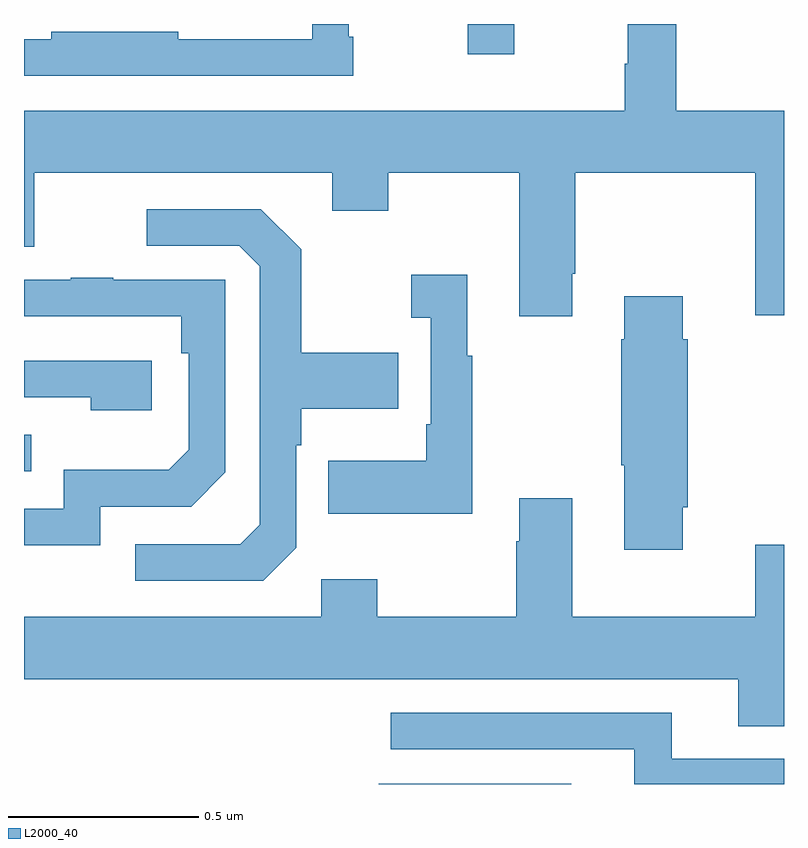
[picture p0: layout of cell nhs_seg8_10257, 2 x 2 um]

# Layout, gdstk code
import gdstk
lib = gdstk.Library(unit=1e-6, precision=1e-09)
def R(c, l, rs):  # rectangles x0, y0, x1, y1
    for r in rs: c.add(gdstk.rectangle(r[:2], r[2:], *l))
def P(c, l, *ps):  # polygons
    for p in ps: c.add(gdstk.Polygon(p, *l))
L2000_40 = (2000, 40)

nhs_seg8_10257 = lib.new_cell('nhs_seg8_10257')
R(nhs_seg8_10257, L2000_40, [(247.934,1106.9,248.44,1106.901), (247,1107.723,247.019,1107.819), (248.168,1108.821,248.29,1108.9)])
P(nhs_seg8_10257, L2000_40, [(248.443,1108.243),(248.451,1108.243),(248.451,1108.508),(248.924,1108.508),(248.924,1108.134),(249,1108.134),(249,1108.672),(248.717,1108.672),(248.717,1108.9),(248.589,1108.9),(248.589,1108.796),(248.581,1108.796),(248.581,1108.672),(247,1108.672),(247,1108.314),(247.027,1108.314),(247.027,1108.508),(247.811,1108.508),(247.811,1108.409),(247.959,1108.409),(247.959,1108.508),(248.303,1108.508),(248.303,1108.131),(248.443,1108.131)],
  [(247.867,1108.867),(247.854,1108.867),(247.854,1108.9),(247.758,1108.9),(247.758,1108.86),(247.406,1108.86),(247.406,1108.88),(247.072,1108.88),(247.072,1108.86),(247,1108.86),(247,1108.764),(247.867,1108.764)],
  [(247.716,1107.522),(247.716,1107.791),(247.729,1107.791),(247.729,1107.887),(247.985,1107.887),(247.985,1108.035),(247.729,1108.035),(247.729,1108.307),(247.623,1108.413),(247.323,1108.413),(247.323,1108.317),(247.566,1108.317),(247.62,1108.263),(247.62,1107.582),(247.569,1107.531),(247.293,1107.531),(247.293,1107.435),(247.629,1107.435)],
  [(248.179,1108.027),(248.167,1108.027),(248.167,1108.24),(248.019,1108.24),(248.019,1108.127),(248.07,1108.127),(248.07,1107.847),(248.058,1107.847),(248.058,1107.751),(247.801,1107.751),(247.801,1107.611),(248.179,1107.611)],
  [(247.2,1107.63),(247.44,1107.63),(247.53,1107.72),(247.53,1108.227),(247.235,1108.227),(247.235,1108.232),(247.123,1108.232),(247.123,1108.227),(247,1108.227),(247,1108.131),(247.414,1108.131),(247.414,1108.034),(247.434,1108.034),(247.434,1107.78),(247.381,1107.727),(247.104,1107.727),(247.104,1107.624),(247,1107.624),(247,1107.528),(247.2,1107.528)],
  [(248.734,1107.628),(248.747,1107.628),(248.747,1108.07),(248.734,1108.07),(248.734,1108.183),(248.579,1108.183),(248.579,1108.07),(248.572,1108.07),(248.572,1107.739),(248.579,1107.739),(248.579,1107.516),(248.734,1107.516)],
  [(247.336,1108.014),(247,1108.014),(247,1107.918),(247.175,1107.918),(247.175,1107.884),(247.336,1107.884)],
  [(249,1107.529),(248.924,1107.529),(248.924,1107.34),(248.443,1107.34),(248.443,1107.652),(248.303,1107.652),(248.303,1107.539),(248.296,1107.539),(248.296,1107.34),(247.929,1107.34),(247.929,1107.439),(247.782,1107.439),(247.782,1107.34),(247,1107.34),(247,1107.176),(248.879,1107.176),(248.879,1107.052),(249,1107.052)],
  [(249,1106.967),(248.704,1106.967),(248.704,1107.087),(247.965,1107.087),(247.965,1106.991),(248.606,1106.991),(248.606,1106.9),(249,1106.9)])

lib.write_gds('nhs_seg8_10257.gds')
